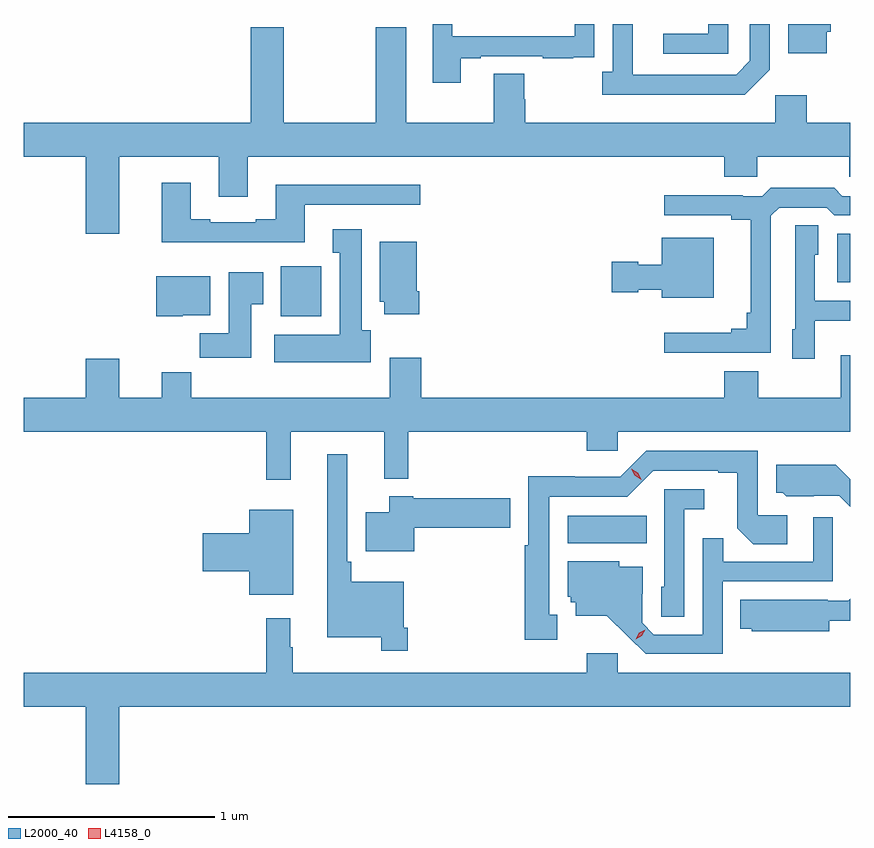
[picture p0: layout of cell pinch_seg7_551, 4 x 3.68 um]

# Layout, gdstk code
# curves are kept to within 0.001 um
import gdstk
lib = gdstk.Library(unit=1e-6, precision=1e-09)
def R(c, l, rs):  # rectangles x0, y0, x1, y1
    for r in rs: c.add(gdstk.rectangle(r[:2], r[2:], *l))
def P(c, l, *ps):  # polygons
    for p in ps: c.add(gdstk.Polygon(p, *l))
L2000_40 = (2000, 40)
L4158_0 = (4158, 0)

pinch_seg7_551 = lib.new_cell('pinch_seg7_551')
R(pinch_seg7_551, L2000_40, [(155.354,1042.7,155.738,1042.834), (153.965,1043.798,154.162,1044.04), (156.659,1043.963,156.722,1044.199)])
P(pinch_seg7_551, L2000_40, [(154.837,1045.047),(154.933,1045.047),(154.933,1045.059),(155.233,1045.059),(155.233,1045.047),(155.381,1045.047),(155.381,1045.053),(155.483,1045.053),(155.483,1045.162),(155.484,1045.162),(155.484,1045.214),(155.388,1045.214),(155.388,1045.155),(154.797,1045.155),(154.797,1045.214),(154.701,1045.214),(154.701,1044.93),(154.837,1044.93)],
  [(156.132,1045.214),(156.036,1045.214),(156.036,1045.167),(155.817,1045.167),(155.817,1045.071),(156.132,1045.071)],
  [(156.333,1044.993),(156.333,1045.214),(156.237,1045.214),(156.237,1045.035),(156.171,1044.969),(155.671,1044.969),(155.67,1045.214),(155.574,1045.214),(155.574,1044.982),(155.523,1044.982),(155.523,1044.872),(156.212,1044.872)],
  [(156.61,1045.177),(156.629,1045.177),(156.629,1045.214),(156.422,1045.214),(156.422,1045.073),(156.61,1045.073)],
  [(153.184,1044.572),(153.665,1044.572),(153.665,1044.378),(153.805,1044.378),(153.805,1044.572),(156.113,1044.572),(156.113,1044.474),(156.273,1044.474),(156.273,1044.572),(156.718,1044.572),(156.718,1044.474),(156.722,1044.474),(156.722,1044.736),(156.512,1044.736),(156.512,1044.868),(156.36,1044.868),(156.36,1044.736),(155.15,1044.736),(155.15,1044.849),(155.145,1044.849),(155.145,1044.974),(154.997,1044.974),(154.997,1044.736),(154.573,1044.736),(154.573,1045.198),(154.426,1045.198),(154.426,1044.736),(153.981,1044.736),(153.981,1045.198),(153.821,1045.198),(153.821,1044.736),(152.722,1044.736),(152.722,1044.572),(153.02,1044.572),(153.02,1044.198),(153.184,1044.198)],
  [(154.081,1044.339),(154.642,1044.339),(154.642,1044.436),(153.941,1044.436),(153.941,1044.268),(153.845,1044.268),(153.845,1044.255),(153.625,1044.255),(153.625,1044.268),(153.529,1044.268),(153.529,1044.445),(153.389,1044.445),(153.389,1044.158),(154.081,1044.158)],
  [(156.339,1044.285),(156.378,1044.324),(156.609,1044.324),(156.645,1044.288),(156.722,1044.288),(156.722,1044.381),(156.684,1044.381),(156.645,1044.421),(156.337,1044.421),(156.297,1044.381),(156.203,1044.381),(156.203,1044.386),(155.823,1044.386),(155.823,1044.288),(156.146,1044.288),(156.146,1044.266),(156.242,1044.266),(156.242,1043.815),(156.223,1043.815),(156.223,1043.738),(156.146,1043.738),(156.146,1043.719),(155.823,1043.719),(155.823,1043.622),(156.339,1043.622)],
  [(156.552,1043.777),(156.722,1043.777),(156.722,1043.874),(156.552,1043.874),(156.552,1044.096),(156.568,1044.096),(156.568,1044.239),(156.456,1044.239),(156.456,1043.736),(156.443,1043.736),(156.443,1043.592),(156.552,1043.592)],
  [(154.402,1043.73),(154.357,1043.73),(154.357,1044.22),(154.217,1044.22),(154.217,1044.107),(154.25,1044.107),(154.25,1043.71),(153.933,1043.71),(153.933,1043.576),(154.402,1043.576)],
  [(156.061,1044.178),(155.81,1044.178),(155.81,1044.049),(155.697,1044.049),(155.697,1044.062),(155.568,1044.062),(155.568,1043.915),(155.697,1043.915),(155.697,1043.927),(155.81,1043.927),(155.81,1043.888),(156.061,1043.888)],
  [(154.637,1043.92),(154.624,1043.92),(154.624,1044.16),(154.445,1044.16),(154.445,1043.868),(154.466,1043.868),(154.466,1043.808),(154.637,1043.808)],
  [(153.823,1043.857),(153.88,1043.857),(153.88,1044.013),(153.713,1044.013),(153.713,1043.716),(153.574,1043.716),(153.574,1043.598),(153.823,1043.598)],
  [(153.492,1043.804),(153.625,1043.804),(153.625,1043.992),(153.362,1043.992),(153.362,1043.798),(153.492,1043.798)],
  [(154.013,1043.24),(154.466,1043.24),(154.466,1043.012),(154.583,1043.012),(154.583,1043.24),(155.447,1043.24),(155.447,1043.147),(155.598,1043.147),(155.598,1043.24),(156.722,1043.24),(156.722,1043.611),(156.677,1043.611),(156.677,1043.404),(156.277,1043.404),(156.277,1043.533),(156.113,1043.533),(156.113,1043.404),(154.646,1043.404),(154.646,1043.599),(154.493,1043.599),(154.493,1043.404),(153.533,1043.404),(153.533,1043.528),(153.389,1043.528),(153.389,1043.404),(153.184,1043.404),(153.184,1043.593),(153.02,1043.593),(153.02,1043.404),(152.722,1043.404),(152.722,1043.24),(153.895,1043.24),(153.895,1043.007),(154.013,1043.007)],
  [(155.305,1042.353),(155.266,1042.353),(155.266,1042.926),(155.643,1042.926),(155.769,1043.052),(156.083,1043.052),(156.083,1043.04),(156.177,1043.04),(156.177,1042.772),(156.253,1042.696),(156.418,1042.696),(156.418,1042.836),(156.276,1042.836),(156.276,1043.148),(155.736,1043.148),(155.61,1043.022),(155.388,1043.022),(155.388,1043.024),(155.165,1043.024),(155.165,1042.691),(155.148,1042.691),(155.148,1042.233),(155.305,1042.233)],
  [(154.58,1042.291),(154.56,1042.291),(154.56,1042.513),(154.307,1042.513),(154.307,1042.609),(154.287,1042.609),(154.287,1043.131),(154.19,1043.131),(154.19,1042.244),(154.452,1042.244),(154.452,1042.179),(154.58,1042.179)],
  [(156.722,1043.01),(156.653,1043.08),(156.365,1043.08),(156.365,1042.944),(156.396,1042.944),(156.412,1042.928),(156.546,1042.928),(156.546,1042.929),(156.669,1042.929),(156.722,1042.876)],
  [(155.919,1042.865),(156.016,1042.865),(156.016,1042.962),(155.823,1042.962),(155.823,1042.488),(155.808,1042.488),(155.808,1042.345),(155.919,1042.345)],
  [(154.612,1042.775),(155.077,1042.775),(155.077,1042.917),(154.608,1042.917),(154.608,1042.927),(154.49,1042.927),(154.49,1042.849),(154.376,1042.849),(154.376,1042.661),(154.612,1042.661)],
  [(154.027,1042.861),(153.812,1042.861),(153.812,1042.748),(153.588,1042.748),(153.588,1042.565),(153.812,1042.565),(153.812,1042.451),(154.027,1042.451)],
  [(156.105,1042.515),(156.639,1042.515),(156.639,1042.825),(156.543,1042.825),(156.543,1042.611),(156.107,1042.611),(156.107,1042.724),(156.009,1042.724),(156.009,1042.257),(155.772,1042.257),(155.715,1042.314),(155.715,1042.456),(155.719,1042.456),(155.719,1042.585),(155.604,1042.585),(155.604,1042.612),(155.354,1042.612),(155.354,1042.44),(155.37,1042.44),(155.37,1042.413),(155.393,1042.413),(155.393,1042.349),(155.545,1042.349),(155.732,1042.164),(156.105,1042.164)],
  [(156.622,1042.325),(156.722,1042.325),(156.722,1042.43),(156.714,1042.422),(156.614,1042.422),(156.614,1042.426),(156.19,1042.426),(156.19,1042.286),(156.246,1042.286),(156.246,1042.274),(156.622,1042.274)],
  [(153.184,1041.908),(156.722,1041.908),(156.722,1042.072),(155.598,1042.072),(155.598,1042.168),(155.447,1042.168),(155.447,1042.072),(154.024,1042.072),(154.024,1042.196),(154.012,1042.196),(154.012,1042.336),(153.895,1042.336),(153.895,1042.072),(152.722,1042.072),(152.722,1041.908),(153.02,1041.908),(153.02,1041.534),(153.184,1041.534)])
P(pinch_seg7_551, L4158_0, [(155.684,1042.236),(155.684,1042.236),(155.701,1042.266),(155.731,1042.281),(155.731,1042.281),(155.731,1042.28),(155.714,1042.251),(155.684,1042.236)],
  [(155.711,1043.008),(155.68,1043.028),(155.663,1043.06),(155.663,1043.061),(155.663,1043.061),(155.695,1043.041),(155.712,1043.009),(155.712,1043.008)])

lib.write_gds('pinch_seg7_551.gds')
